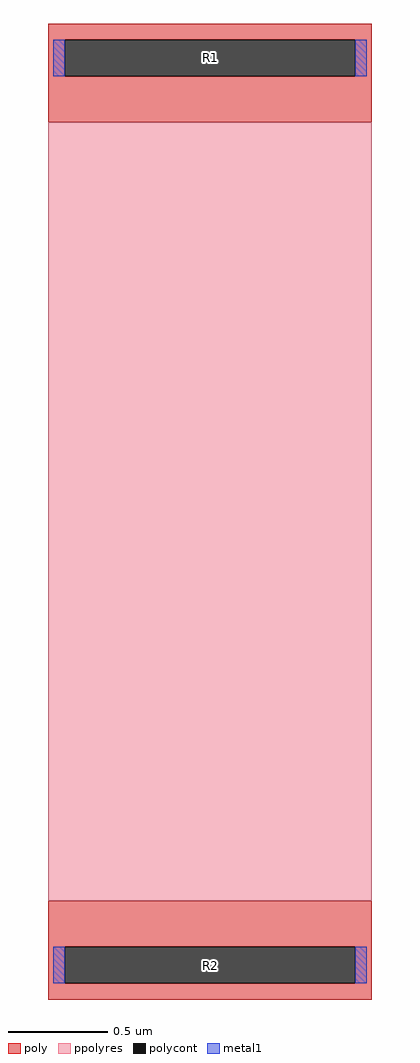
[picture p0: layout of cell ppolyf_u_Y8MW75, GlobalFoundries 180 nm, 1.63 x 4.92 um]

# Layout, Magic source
magic
tech gf180mcuD
magscale 3 26
<< poly >>
rect -141 412 141 426
rect -141 380 -127 412
rect 127 380 141 412
rect -141 340 141 380
rect -141 -380 141 -340
rect -141 -412 -127 -380
rect 127 -412 141 -380
rect -141 -426 141 -412
<< polycont >>
rect -127 380 127 412
rect -127 -412 127 -380
<< ppolyres >>
rect -141 -340 141 340
<< metal1 >>
rect -137 380 -127 412
rect 127 380 137 412
rect -137 -412 -127 -380
rect 127 -412 137 -380
<< labels >>
rlabel polycont 0 396 0 396 0 R1
port 1 nsew
rlabel polycont 0 -396 0 -396 0 R2
port 2 nsew
<< properties >>
string gencell ppolyf_u
string library gf180mcu
string MASKHINTS_CONTBAR -141 -426 141 426
string parameters w 1.41 l 3.4 m 1 nx 1 wmin 0.50 lmin 0.50 class resistor rho 260.0 val 626.95 dummy 0 dw 0.0 term 0.0 sterm 0.0 caplen 0 guard 0 glc 1 grc 1 gtc 1 gbc 1 snake 0 full_metal 1 vias 0 n_guard 0 hv_guard 0 bar 1 viagb 0 viagt 0 viagl 0 viagr 0 doports 1
<< end >>
